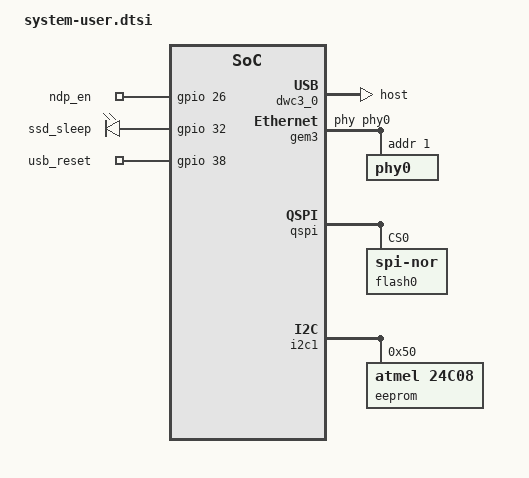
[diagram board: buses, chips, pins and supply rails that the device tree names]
/include/ "system-conf.dtsi"
/ {
  chosen {
    xlnx,eeprom = &eeprom;
  };
};

#include <dt-bindings/gpio/gpio.h>

/* SD */

&sdhci0 {
    disable-wp;
    no-1-8-v;
};

/* USB  */

&dwc3_0 {
    status = "okay";
    dr_mode = "host";
    //snps,usb3_lpm_capable;
    //snps,dis_u3_susphy_quirk;
    //snps,dis_u2_susphy_quirk;
    //phy-names = "usb2-phy","usb3-phy";
	//phys = <&lane1 4 0 2 26000000>;
    //maximum-speed = "super-speed";
};

/ {
    leds {
        compatible = "gpio-leds";
        ndp_en {
            label = "ndp_en";
            gpios = <&gpio 26 GPIO_ACTIVE_HIGH>;
            default-state = "on";
        };
        ssd_sleep {
            label = "ssd_sleep";
            gpios = <&gpio 32 GPIO_ACTIVE_HIGH>;
            default-state = "on";
        };
        usb_reset {
            label = "usb_reset";
            gpios = <&gpio 38 GPIO_ACTIVE_HIGH>;
            default-state = "on";
        };
    };
};

/* ETH PHY */

&gem3 {
    phy-handle = <&phy0>;
    phy0: phy0@1 {
        device_type = "ethernet-phy";
        reg = <1>;
    };
};

/* QSPI */

&qspi {
    #address-cells = <1>;
    #size-cells = <0>;
    status = "okay";
    flash0: flash@0 {
        compatible = "jedec,spi-nor";
        reg = <0x0>;
        #address-cells = <1>;
        #size-cells = <1>;
    };
};


/* I2C */
&i2c1 {
    eeprom: eeprom@50 {
        compatible = "atmel,24c08";
        reg = <0x50>;
    };
};
